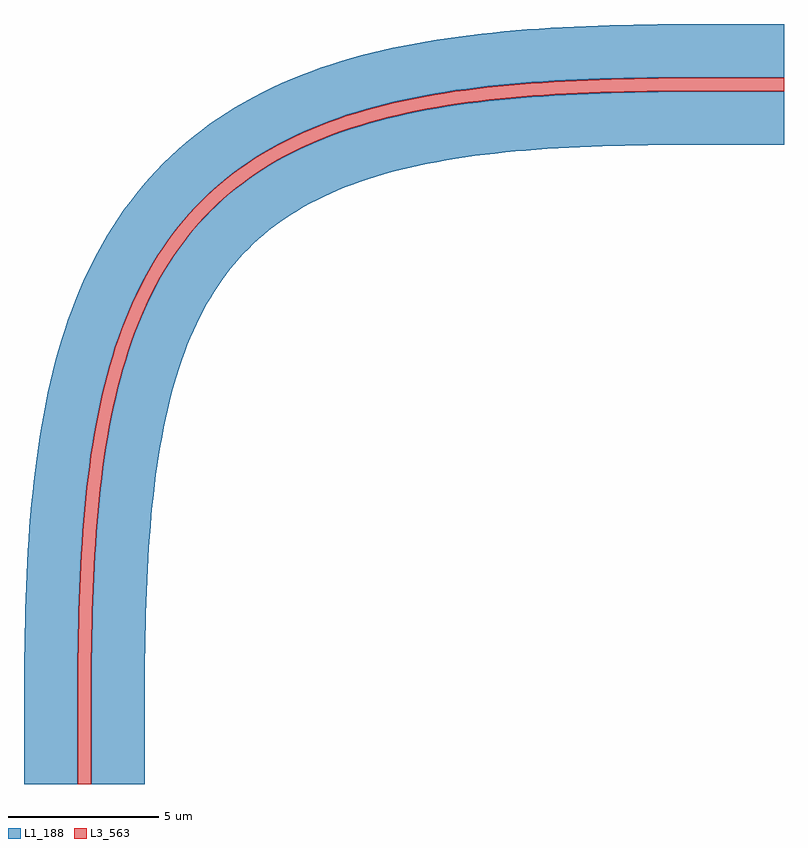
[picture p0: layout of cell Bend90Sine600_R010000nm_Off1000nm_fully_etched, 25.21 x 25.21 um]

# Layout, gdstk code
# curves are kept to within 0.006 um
import gdstk
lib = gdstk.Library(unit=1e-6, precision=1e-09)
def P(c, l, *ps):  # polygons
    for p in ps: c.add(gdstk.Polygon(p, *l))
L1_188 = (1, 188)
L3_563 = (3, 563)

bend90sine600_r010000nm_ = lib.new_cell('Bend90Sine600_R010000nm_Off1000nm_fully_etched')
P(bend90sine600_r010000nm_, L1_188, [(0.225,-23.214),(0.228,-20.235),(0.244,-18.667),(0.282,-17.122),(0.351,-15.61),(0.429,-14.505),(0.496,-13.782),(0.574,-13.072),(0.719,-12.036),(0.835,-11.365),(0.966,-10.711),(1.113,-10.073),(1.194,-9.762),(1.368,-9.153),(1.56,-8.563),(1.772,-7.993),(1.885,-7.715),(2.003,-7.443),(2.254,-6.914),(2.387,-6.658),(2.668,-6.161),(2.817,-5.921),(3.129,-5.457),(3.463,-5.014),(3.638,-4.801),(4.005,-4.391),(4.195,-4.195),(4.391,-4.005),(4.801,-3.638),(5.014,-3.463),(5.457,-3.129),(5.921,-2.817),(6.161,-2.668),(6.407,-2.525),(6.914,-2.254),(7.176,-2.126),(7.715,-1.885),(7.993,-1.772),(8.563,-1.56),(9.153,-1.368),(9.762,-1.194),(10.073,-1.113),(10.711,-0.966),(11.365,-0.835),(12.036,-0.719),(13.072,-0.574),(13.782,-0.496),(14.505,-0.429),(15.61,-0.351),(17.122,-0.282),(18.667,-0.244),(20.235,-0.228),(23.214,-0.225),(23.214,-2),(20.244,-2.003),(19.08,-2.013),(17.559,-2.044),(16.076,-2.102),(15.002,-2.17),(13.621,-2.298),(12.961,-2.379),(12.315,-2.472),(11.384,-2.639),(10.502,-2.836),(9.669,-3.066),(8.893,-3.328),(8.403,-3.522),(7.937,-3.73),(7.494,-3.952),(7.281,-4.07),(7.075,-4.189),(6.677,-4.443),(6.122,-4.85),(5.778,-5.141),(5.45,-5.45),(5.141,-5.778),(4.85,-6.122),(4.443,-6.677),(4.189,-7.075),(4.07,-7.281),(3.952,-7.494),(3.73,-7.937),(3.522,-8.403),(3.328,-8.893),(3.066,-9.669),(2.836,-10.502),(2.639,-11.384),(2.472,-12.315),(2.379,-12.961),(2.298,-13.621),(2.17,-15.002),(2.102,-16.076),(2.044,-17.559),(2.013,-19.08),(2.003,-20.244),(2,-23.214)],
  [(-2,-23.214),(-1.997,-20.224),(-1.974,-18.234),(-1.927,-16.653),(-1.846,-15.09),(-1.788,-14.32),(-1.718,-13.557),(-1.634,-12.801),(-1.535,-12.06),(-1.353,-10.959),(-1.13,-9.888),(-1.046,-9.536),(-0.86,-8.844),(-0.654,-8.165),(-0.541,-7.83),(-0.297,-7.174),(-0.166,-6.853),(-0.028,-6.535),(0.265,-5.916),(0.588,-5.311),(0.761,-5.015),(0.94,-4.725),(1.317,-4.165),(1.517,-3.892),(1.939,-3.364),(2.386,-2.864),(2.622,-2.622),(2.864,-2.386),(3.364,-1.939),(3.892,-1.517),(4.165,-1.317),(4.725,-0.94),(5.015,-0.761),(5.311,-0.588),(5.916,-0.265),(6.535,0.028),(6.853,0.166),(7.174,0.297),(7.83,0.541),(8.165,0.654),(8.844,0.86),(9.536,1.046),(9.888,1.13),(10.959,1.353),(12.06,1.535),(12.801,1.634),(13.557,1.718),(14.32,1.788),(15.09,1.846),(16.653,1.927),(18.234,1.974),(20.224,1.997),(23.214,2),(23.214,0.225),(20.233,0.222),(18.659,0.206),(17.106,0.168),(15.584,0.099),(14.1,-0.013),(13.018,-0.128),(11.966,-0.275),(11.283,-0.393),(10.615,-0.526),(9.646,-0.76),(8.715,-1.034),(8.119,-1.242),(7.827,-1.354),(7.259,-1.593),(6.712,-1.852),(6.446,-1.989),(5.929,-2.282),(5.434,-2.597),(5.195,-2.763),(4.961,-2.934),(4.511,-3.294),(4.083,-3.677),(3.877,-3.877),(3.677,-4.083),(3.294,-4.511),(2.934,-4.961),(2.763,-5.195),(2.597,-5.434),(2.282,-5.929),(1.989,-6.446),(1.852,-6.712),(1.593,-7.259),(1.354,-7.827),(1.242,-8.119),(1.034,-8.715),(0.76,-9.646),(0.526,-10.615),(0.393,-11.283),(0.275,-11.966),(0.128,-13.018),(0.013,-14.1),(-0.099,-15.584),(-0.168,-17.106),(-0.206,-18.659),(-0.222,-20.233),(-0.225,-23.214)])
bend90sine600_r010000nm_.add(gdstk.FlexPath([(0,-23.214),(0,-22.214),(0,-21.818),(0,-21.421),(0.001,-21.025),(0.002,-20.629),(0.003,-20.234),(0.006,-19.84),(0.009,-19.447),(0.013,-19.054),(0.019,-18.663),(0.026,-18.273),(0.034,-17.885),(0.045,-17.499),(0.057,-17.114),(0.071,-16.732),(0.087,-16.351),(0.105,-15.973),(0.126,-15.597),(0.15,-15.224),(0.176,-14.853),(0.205,-14.486),(0.237,-14.121),(0.272,-13.759),(0.31,-13.401),(0.351,-13.045),(0.397,-12.694),(0.445,-12.346),(0.497,-12.001),(0.554,-11.661),(0.614,-11.324),(0.678,-10.992),(0.746,-10.663),(0.819,-10.339),(0.895,-10.019),(0.977,-9.704),(1.063,-9.393),(1.153,-9.087),(1.248,-8.785),(1.348,-8.489),(1.453,-8.197),(1.563,-7.91),(1.678,-7.628),(1.798,-7.351),(1.923,-7.08),(2.053,-6.813),(2.188,-6.552),(2.329,-6.296),(2.475,-6.045),(2.627,-5.8),(2.784,-5.56),(2.946,-5.326),(3.114,-5.097),(3.287,-4.874),(3.466,-4.656),(3.651,-4.444),(3.841,-4.237),(4.036,-4.036),(4.237,-3.841),(4.444,-3.651),(4.656,-3.466),(4.874,-3.287),(5.097,-3.114),(5.326,-2.946),(5.56,-2.784),(5.8,-2.627),(6.045,-2.475),(6.296,-2.329),(6.552,-2.188),(6.813,-2.053),(7.08,-1.923),(7.351,-1.798),(7.628,-1.678),(7.91,-1.563),(8.197,-1.453),(8.489,-1.348),(8.785,-1.248),(9.087,-1.153),(9.393,-1.063),(9.704,-0.977),(10.019,-0.895),(10.339,-0.819),(10.663,-0.746),(10.992,-0.678),(11.324,-0.614),(11.661,-0.554),(12.001,-0.497),(12.346,-0.445),(12.694,-0.397),(13.045,-0.351),(13.401,-0.31),(13.759,-0.272),(14.121,-0.237),(14.486,-0.205),(14.853,-0.176),(15.224,-0.15),(15.597,-0.126),(15.973,-0.105),(16.351,-0.087),(16.732,-0.071),(17.114,-0.057),(17.499,-0.045),(17.885,-0.034),(18.273,-0.026),(18.663,-0.019),(19.054,-0.013),(19.447,-0.009),(19.84,-0.006),(20.234,-0.003),(20.629,-0.002),(21.025,-0.001),(21.421,0),(21.818,0),(22.214,0),(23.214,0)], 0.45, ends="flush", simple_path=True, layer=3, datatype=563))  # L3_563

lib.write_gds('Bend90Sine600_R010000nm_Off1000nm_fully_etched.gds')
